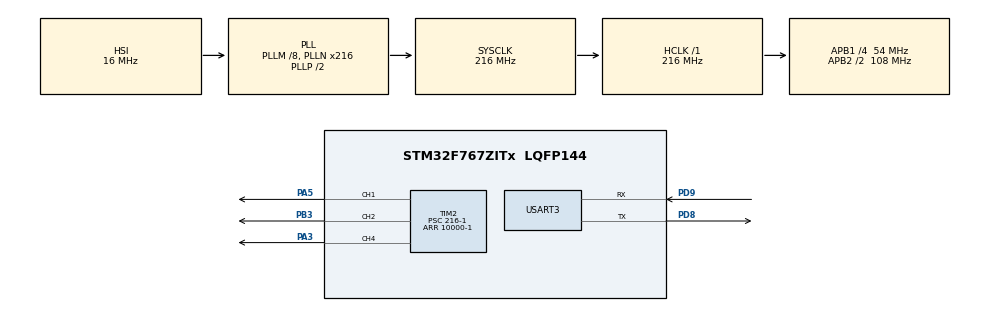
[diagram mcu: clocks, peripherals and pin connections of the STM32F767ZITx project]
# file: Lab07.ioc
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Mcu.Family=STM32F7
Mcu.Name=STM32F767ZITx
Mcu.Package=LQFP144
NVIC.PriorityGroup=NVIC_PRIORITYGROUP_1
NVIC.USART3_IRQn=true\:1\:0\:true\:false\:true\:true\:true\:true
PA3.GPIO_Speed=GPIO_SPEED_FREQ_VERY_HIGH
PA3.Signal=S_TIM2_CH4
PA5.GPIO_Speed=GPIO_SPEED_FREQ_VERY_HIGH
PA5.Signal=S_TIM2_CH1_ETR
PB3.GPIO_Speed=GPIO_SPEED_FREQ_VERY_HIGH
PB3.Signal=S_TIM2_CH2
PD8.Mode=Asynchronous
PD8.Signal=USART3_TX
PD9.Mode=Asynchronous
PD9.Signal=USART3_RX
ProjectManager.HeapSize=0x200
ProjectManager.StackSize=0x400
ProjectManager.TargetToolchain=STM32CubeIDE
RCC.AHBFreq_Value=216000000
RCC.APB1CLKDivider=RCC_HCLK_DIV4
RCC.APB1Freq_Value=54000000
RCC.APB1TimFreq_Value=108000000
RCC.APB2CLKDivider=RCC_HCLK_DIV2
RCC.APB2Freq_Value=108000000
RCC.APB2TimFreq_Value=216000000
RCC.CortexFreq_Value=216000000
RCC.HCLKFreq_Value=216000000
RCC.HSE_VALUE=25000000
RCC.HSI_VALUE=16000000
RCC.LSE_VALUE=32768
RCC.PLLM=8
RCC.PLLN=216
RCC.SYSCLKFreq_VALUE=216000000
RCC.SYSCLKSource=RCC_SYSCLKSOURCE_PLLCLK
RCC.USBFreq_Value=216000000
RCC.VCOOutputFreq_Value=432000000
SH.S_TIM2_CH1_ETR.0=TIM2_CH1,PWM Generation1 CH1
SH.S_TIM2_CH2.0=TIM2_CH2,PWM Generation2 CH2
SH.S_TIM2_CH4.0=TIM2_CH4,PWM Generation4 CH4
TIM2.Channel-PWM\ Generation1\ CH1=TIM_CHANNEL_1
TIM2.Channel-PWM\ Generation2\ CH2=TIM_CHANNEL_2
TIM2.Channel-PWM\ Generation4\ CH4=TIM_CHANNEL_4
TIM2.Period=10000-1
TIM2.Prescaler=216-1
TIM2.Pulse-PWM\ Generation1\ CH1=10000/4-1
TIM2.Pulse-PWM\ Generation2\ CH2=10000/4-1
TIM2.Pulse-PWM\ Generation4\ CH4=10000/4-1
USART3.VirtualMode-Asynchronous=VM_ASYNC
VP_TIM2_VS_ClockSourceINT.Mode=Internal
board=custom

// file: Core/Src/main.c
/* USER CODE BEGIN Header */
/**
  ******************************************************************************
  * @file           : main.c
  * @brief          : Main program body
  ******************************************************************************
  * @attention
  *
  * Copyright (c) 2023 STMicroelectronics.
  * All rights reserved.
  *
  * This software is licensed under terms that can be found in the LICENSE file
  * in the root directory of this software component.
  * If no LICENSE file comes with this software, it is provided AS-IS.
  *
  ******************************************************************************
  */
/* USER CODE END Header */
#include "main.h"
#include "tim.h"
#include "usart.h"
#include "gpio.h"

/* USER CODE BEGIN Includes */
#include "string.h"
/* USER CODE END Includes */

/* USER CODE BEGIN PV */
uint8_t c; // receive character
uint8_t red = 0; // PA1
uint8_t green = 0; //PB10
uint8_t blue = 0; //PA3
float dutyCycleR = 0.0;
float dutyCycleG = 0.0;
float dutyCycleB = 0.0;
/* USER CODE END PV */

void SystemClock_Config(void);

int main(void)
{

  /* MCU Configuration--------------------------------------------------------*/

  /* Reset of all peripherals, Initializes the Flash interface and the Systick. */
  HAL_Init();

  /* Configure the system clock */
  SystemClock_Config();

  /* Initialize all configured peripherals */
  MX_GPIO_Init();
  MX_USART3_UART_Init();
  MX_TIM2_Init();
  /* USER CODE BEGIN 2 */
  HAL_UART_Receive_IT(&huart3, &c, 1);

  /* USER CODE END 2 */

  /* Infinite loop */
  while (1)
  {

    /* USER CODE BEGIN 3 */
	  htim2.Instance -> CCR1 = (10000-1) * dutyCycleR;
	  htim2.Instance -> CCR2 = (10000-1) * dutyCycleG;
	  htim2.Instance -> CCR4 = (10000-1) * dutyCycleB;
	  HAL_TIM_PWM_Start(&htim2, TIM_CHANNEL_1);
	  HAL_TIM_PWM_Start(&htim2, TIM_CHANNEL_2);
	  HAL_TIM_PWM_Start(&htim2, TIM_CHANNEL_4);
	  //HAL_Delay(100);
	  red = HAL_GPIO_ReadPin(GPIOA, GPIO_PIN_5);
	  green = HAL_GPIO_ReadPin(GPIOB, GPIO_PIN_3);
	  blue = HAL_GPIO_ReadPin(GPIOA, GPIO_PIN_3);

  }
  /* USER CODE END 3 */
}

void SystemClock_Config(void)
{
  RCC_OscInitTypeDef RCC_OscInitStruct = {0};
  RCC_ClkInitTypeDef RCC_ClkInitStruct = {0};

  /** Configure the main internal regulator output voltage
  */
  __HAL_RCC_PWR_CLK_ENABLE();
  __HAL_PWR_VOLTAGESCALING_CONFIG(PWR_REGULATOR_VOLTAGE_SCALE1);

  /** Initializes the RCC Oscillators according to the specified parameters
  * in the RCC_OscInitTypeDef structure.
  */
  RCC_OscInitStruct.OscillatorType = RCC_OSCILLATORTYPE_HSI;
  RCC_OscInitStruct.HSIState = RCC_HSI_ON;
  RCC_OscInitStruct.HSICalibrationValue = RCC_HSICALIBRATION_DEFAULT;
  RCC_OscInitStruct.PLL.PLLState = RCC_PLL_ON;
  RCC_OscInitStruct.PLL.PLLSource = RCC_PLLSOURCE_HSI;
  RCC_OscInitStruct.PLL.PLLM = 8;
  RCC_OscInitStruct.PLL.PLLN = 216;
  RCC_OscInitStruct.PLL.PLLP = RCC_PLLP_DIV2;
  RCC_OscInitStruct.PLL.PLLQ = 2;
  RCC_OscInitStruct.PLL.PLLR = 2;
  if (HAL_RCC_OscConfig(&RCC_OscInitStruct) != HAL_OK)
  {
    Error_Handler();
  }

  /** Activate the Over-Drive mode
  */
  if (HAL_PWREx_EnableOverDrive() != HAL_OK)
  {
    Error_Handler();
  }

  /** Initializes the CPU, AHB and APB buses clocks
  */
  RCC_ClkInitStruct.ClockType = RCC_CLOCKTYPE_HCLK|RCC_CLOCKTYPE_SYSCLK
                              |RCC_CLOCKTYPE_PCLK1|RCC_CLOCKTYPE_PCLK2;
  RCC_ClkInitStruct.SYSCLKSource = RCC_SYSCLKSOURCE_PLLCLK;
  RCC_ClkInitStruct.AHBCLKDivider = RCC_SYSCLK_DIV1;
  RCC_ClkInitStruct.APB1CLKDivider = RCC_HCLK_DIV4;
  RCC_ClkInitStruct.APB2CLKDivider = RCC_HCLK_DIV2;

  if (HAL_RCC_ClockConfig(&RCC_ClkInitStruct, FLASH_LATENCY_7) != HAL_OK)
  {
    Error_Handler();
  }
}

/* USER CODE BEGIN 4 */
void HAL_UART_RxCpltCallback(UART_HandleTypeDef *huart){
	if (huart->Instance == huart3.Instance){
		while (__HAL_UART_GET_FLAG(&huart3, UART_FLAG_TC) == RESET){}
		HAL_UART_Transmit(&huart3, &c, 1, 100);
		HAL_UART_Transmit(&huart3, (uint8_t*)"\n\r", 2, 100);
		if (c == 'r' || c == 'R')
		{
			dutyCycleR += 0.2;
			if (dutyCycleR > 1.0)
				dutyCycleR = 0;
		}
		else if (c == 'g' || c == 'G')
		{
			dutyCycleG += 0.2;
			if (dutyCycleG > 1.0)
				dutyCycleG = 0;
		}
		else if (c == 'b' || c == 'B')
		{
			dutyCycleB += 0.2;
			if (dutyCycleB > 1.0)
				dutyCycleB = 0;
		}
		HAL_UART_Receive_IT(&huart3, &c, 1);
	}
}
/* USER CODE END 4 */

void Error_Handler(void)
{
  __disable_irq();
  while (1)
  {
  }
}
